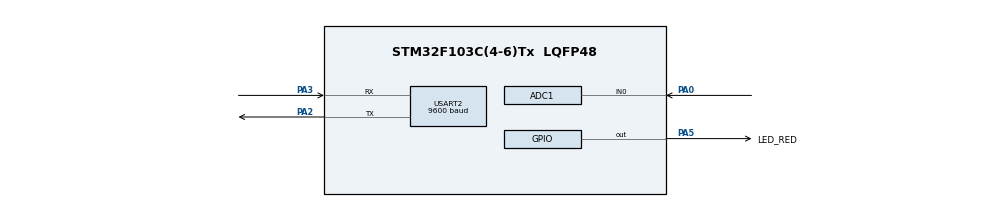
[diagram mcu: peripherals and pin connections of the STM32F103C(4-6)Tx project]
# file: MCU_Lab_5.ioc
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ADC1.Channel-0\#ChannelRegularConversion=ADC_CHANNEL_0
ADC1.ContinuousConvMode=ENABLE
ADC1.NbrOfConversionFlag=1
ADC1.Rank-0\#ChannelRegularConversion=1
ADC1.SamplingTime-0\#ChannelRegularConversion=ADC_SAMPLETIME_1CYCLE_5
ADC1.master=1
Mcu.Family=STM32F1
Mcu.Name=STM32F103C(4-6)Tx
Mcu.Package=LQFP48
NVIC.PriorityGroup=NVIC_PRIORITYGROUP_4
NVIC.TIM2_IRQn=true\:0\:0\:false\:false\:true\:true\:true
NVIC.TIM3_IRQn=true\:0\:0\:false\:false\:true\:true\:true
NVIC.USART2_IRQn=true\:0\:0\:false\:false\:true\:true\:true
PA0-WKUP.Signal=ADCx_IN0
PA2.Mode=Asynchronous
PA2.Signal=USART2_TX
PA3.Mode=Asynchronous
PA3.Signal=USART2_RX
PA5.GPIO_Label=LED_RED
PA5.Signal=GPIO_Output
ProjectManager.HeapSize=0x200
ProjectManager.StackSize=0x400
ProjectManager.TargetToolchain=STM32CubeIDE
RCC.APB1Freq_Value=8000000
RCC.APB2Freq_Value=8000000
SH.ADCx_IN0.0=ADC1_IN0,IN0
TIM2.Period=9
TIM2.Prescaler=7999
TIM3.Period=9
TIM3.Prescaler=7999
USART2.BaudRate=9600
USART2.VirtualMode=VM_ASYNC
VP_SYS_VS_ND.Mode=No_Debug
VP_TIM2_VS_ClockSourceINT.Mode=Internal
VP_TIM3_VS_ClockSourceINT.Mode=Internal
board=custom

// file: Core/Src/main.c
/* USER CODE BEGIN Header */
/**
  ******************************************************************************
  * @file           : main.c
  * @brief          : Main program body
  ******************************************************************************
  * @attention
  *
  * <h2><center>&copy; Copyright (c) 2024 STMicroelectronics.
  * All rights reserved.</center></h2>
  *
  * This software component is licensed by ST under BSD 3-Clause license,
  * the "License"; You may not use this file except in compliance with the
  * License. You may obtain a copy of the License at:
  *                        opensource.org/licenses/BSD-3-Clause
  *
  ******************************************************************************
  */
/* USER CODE END Header */
#include "main.h"

/* USER CODE BEGIN Includes */
#include "fsm.h"
#include "software_timer.h"
#include <stdio.h>

/* USER CODE END Includes */

ADC_HandleTypeDef hadc1;

TIM_HandleTypeDef htim2;
TIM_HandleTypeDef htim3;

UART_HandleTypeDef huart2;

void SystemClock_Config(void);
static void MX_GPIO_Init(void);
static void MX_ADC1_Init(void);
static void MX_USART2_UART_Init(void);
static void MX_TIM2_Init(void);
static void MX_TIM3_Init(void);

/* USER CODE BEGIN 0 */
void HAL_UART_RxCpltCallback(UART_HandleTypeDef *huart) {
	if(huart->Instance == USART2) {
		HAL_UART_Transmit(&huart2, &temp, 1, 500);
		buffer[index_buffer++] = temp;
		if(index_buffer == 30) {
			index_buffer = 0;
		}
		buffer_flag = 1;
		HAL_UART_Receive_IT(&huart2, &temp, 1);
	}
}
/* USER CODE END 0 */

int main(void)
{

  /* MCU Configuration--------------------------------------------------------*/

  /* Reset of all peripherals, Initializes the Flash interface and the Systick. */
  HAL_Init();

  /* Configure the system clock */
  SystemClock_Config();

  /* Initialize all configured peripherals */
  MX_GPIO_Init();
  MX_ADC1_Init();
  MX_USART2_UART_Init();
  MX_TIM2_Init();
  MX_TIM3_Init();
  /* USER CODE BEGIN 2 */
  HAL_ADC_Start(&hadc1);
  HAL_TIM_Base_Start_IT(&htim2);
  HAL_UART_Receive_IT(&huart2, &temp, 1);
  setTimer2(500);
  /* USER CODE END 2 */

  /* Infinite loop */
  /* USER CODE BEGIN WHILE */
  HAL_GPIO_WritePin(LED_RED_GPIO_Port, LED_RED_Pin, 1);
  while (1)
  {
	  if(buffer_flag == 1) {
		  command_parser_fsm(&hadc1, &huart2);
		  buffer_flag = 0;
	  }
	  uart_communication_fsm(&hadc1, &huart2);
    /* USER CODE END WHILE */

  }
}

void SystemClock_Config(void)
{
  RCC_OscInitTypeDef RCC_OscInitStruct = {0};
  RCC_ClkInitTypeDef RCC_ClkInitStruct = {0};
  RCC_PeriphCLKInitTypeDef PeriphClkInit = {0};

  /** Initializes the RCC Oscillators according to the specified parameters
  * in the RCC_OscInitTypeDef structure.
  */
  RCC_OscInitStruct.OscillatorType = RCC_OSCILLATORTYPE_HSI;
  RCC_OscInitStruct.HSIState = RCC_HSI_ON;
  RCC_OscInitStruct.HSICalibrationValue = RCC_HSICALIBRATION_DEFAULT;
  RCC_OscInitStruct.PLL.PLLState = RCC_PLL_NONE;
  if (HAL_RCC_OscConfig(&RCC_OscInitStruct) != HAL_OK)
  {
    Error_Handler();
  }
  /** Initializes the CPU, AHB and APB buses clocks
  */
  RCC_ClkInitStruct.ClockType = RCC_CLOCKTYPE_HCLK|RCC_CLOCKTYPE_SYSCLK
                              |RCC_CLOCKTYPE_PCLK1|RCC_CLOCKTYPE_PCLK2;
  RCC_ClkInitStruct.SYSCLKSource = RCC_SYSCLKSOURCE_HSI;
  RCC_ClkInitStruct.AHBCLKDivider = RCC_SYSCLK_DIV1;
  RCC_ClkInitStruct.APB1CLKDivider = RCC_HCLK_DIV1;
  RCC_ClkInitStruct.APB2CLKDivider = RCC_HCLK_DIV1;

  if (HAL_RCC_ClockConfig(&RCC_ClkInitStruct, FLASH_LATENCY_0) != HAL_OK)
  {
    Error_Handler();
  }
  PeriphClkInit.PeriphClockSelection = RCC_PERIPHCLK_ADC;
  PeriphClkInit.AdcClockSelection = RCC_ADCPCLK2_DIV2;
  if (HAL_RCCEx_PeriphCLKConfig(&PeriphClkInit) != HAL_OK)
  {
    Error_Handler();
  }
}

static void MX_ADC1_Init(void)
{

  ADC_ChannelConfTypeDef sConfig = {0};

  /** Common config
  */
  hadc1.Instance = ADC1;
  hadc1.Init.ScanConvMode = ADC_SCAN_DISABLE;
  hadc1.Init.ContinuousConvMode = ENABLE;
  hadc1.Init.DiscontinuousConvMode = DISABLE;
  hadc1.Init.ExternalTrigConv = ADC_SOFTWARE_START;
  hadc1.Init.DataAlign = ADC_DATAALIGN_RIGHT;
  hadc1.Init.NbrOfConversion = 1;
  if (HAL_ADC_Init(&hadc1) != HAL_OK)
  {
    Error_Handler();
  }
  /** Configure Regular Channel
  */
  sConfig.Channel = ADC_CHANNEL_0;
  sConfig.Rank = ADC_REGULAR_RANK_1;
  sConfig.SamplingTime = ADC_SAMPLETIME_1CYCLE_5;
  if (HAL_ADC_ConfigChannel(&hadc1, &sConfig) != HAL_OK)
  {
    Error_Handler();
  }

}

static void MX_TIM2_Init(void)
{

  TIM_ClockConfigTypeDef sClockSourceConfig = {0};
  TIM_MasterConfigTypeDef sMasterConfig = {0};

  htim2.Instance = TIM2;
  htim2.Init.Prescaler = 7999;
  htim2.Init.CounterMode = TIM_COUNTERMODE_UP;
  htim2.Init.Period = 9;
  htim2.Init.ClockDivision = TIM_CLOCKDIVISION_DIV1;
  htim2.Init.AutoReloadPreload = TIM_AUTORELOAD_PRELOAD_DISABLE;
  if (HAL_TIM_Base_Init(&htim2) != HAL_OK)
  {
    Error_Handler();
  }
  sClockSourceConfig.ClockSource = TIM_CLOCKSOURCE_INTERNAL;
  if (HAL_TIM_ConfigClockSource(&htim2, &sClockSourceConfig) != HAL_OK)
  {
    Error_Handler();
  }
  sMasterConfig.MasterOutputTrigger = TIM_TRGO_RESET;
  sMasterConfig.MasterSlaveMode = TIM_MASTERSLAVEMODE_DISABLE;
  if (HAL_TIMEx_MasterConfigSynchronization(&htim2, &sMasterConfig) != HAL_OK)
  {
    Error_Handler();
  }

}

static void MX_TIM3_Init(void)
{

  TIM_ClockConfigTypeDef sClockSourceConfig = {0};
  TIM_MasterConfigTypeDef sMasterConfig = {0};

  htim3.Instance = TIM3;
  htim3.Init.Prescaler = 7999;
  htim3.Init.CounterMode = TIM_COUNTERMODE_UP;
  htim3.Init.Period = 9;
  htim3.Init.ClockDivision = TIM_CLOCKDIVISION_DIV1;
  htim3.Init.AutoReloadPreload = TIM_AUTORELOAD_PRELOAD_DISABLE;
  if (HAL_TIM_Base_Init(&htim3) != HAL_OK)
  {
    Error_Handler();
  }
  sClockSourceConfig.ClockSource = TIM_CLOCKSOURCE_INTERNAL;
  if (HAL_TIM_ConfigClockSource(&htim3, &sClockSourceConfig) != HAL_OK)
  {
    Error_Handler();
  }
  sMasterConfig.MasterOutputTrigger = TIM_TRGO_RESET;
  sMasterConfig.MasterSlaveMode = TIM_MASTERSLAVEMODE_DISABLE;
  if (HAL_TIMEx_MasterConfigSynchronization(&htim3, &sMasterConfig) != HAL_OK)
  {
    Error_Handler();
  }

}

static void MX_USART2_UART_Init(void)
{

  huart2.Instance = USART2;
  huart2.Init.BaudRate = 9600;
  huart2.Init.WordLength = UART_WORDLENGTH_8B;
  huart2.Init.StopBits = UART_STOPBITS_1;
  huart2.Init.Parity = UART_PARITY_NONE;
  huart2.Init.Mode = UART_MODE_TX_RX;
  huart2.Init.HwFlowCtl = UART_HWCONTROL_NONE;
  huart2.Init.OverSampling = UART_OVERSAMPLING_16;
  if (HAL_UART_Init(&huart2) != HAL_OK)
  {
    Error_Handler();
  }

}

static void MX_GPIO_Init(void)
{
  GPIO_InitTypeDef GPIO_InitStruct = {0};

  /* GPIO Ports Clock Enable */
  __HAL_RCC_GPIOA_CLK_ENABLE();

  /*Configure GPIO pin Output Level */
  HAL_GPIO_WritePin(LED_RED_GPIO_Port, LED_RED_Pin, GPIO_PIN_RESET);

  /*Configure GPIO pin : LED_RED_Pin */
  GPIO_InitStruct.Pin = LED_RED_Pin;
  GPIO_InitStruct.Mode = GPIO_MODE_OUTPUT_PP;
  GPIO_InitStruct.Pull = GPIO_NOPULL;
  GPIO_InitStruct.Speed = GPIO_SPEED_FREQ_LOW;
  HAL_GPIO_Init(LED_RED_GPIO_Port, &GPIO_InitStruct);

}

/* USER CODE BEGIN 4 */
void HAL_TIM_PeriodElapsedCallback(TIM_HandleTypeDef *htim2) {
	timer_Run();
}
/* USER CODE END 4 */

void Error_Handler(void)
{
  __disable_irq();
  while (1)
  {
  }
}

/************************ (C) COPYRIGHT STMicroelectronics *****END OF FILE****/
